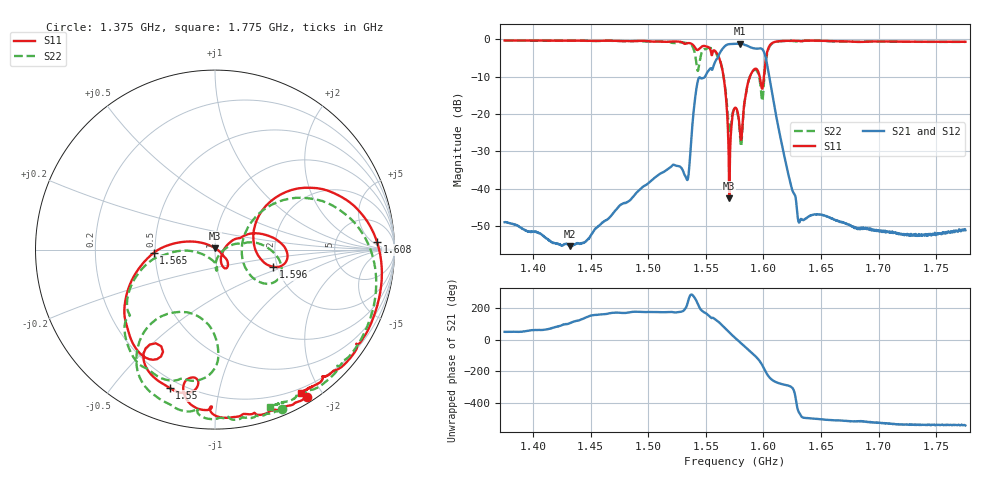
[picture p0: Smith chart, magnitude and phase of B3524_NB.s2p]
! Matrix data file written by TouchstoneData, EPCOS AG
! FILENAME: "B3524_NB.s2p"
! COMMENT: "(LU77C1_3_NB.s2p) EPCOS AG 11.03.10 17:14:47"
! INFO: nport=2, nfreq=1601
! DATE: "Tue Apr  6 13:00:36 2010"
! USER: "Sergey Rostovtsev"
! port | pin | signal
!  1  |  1  |  in
!  2  |  3  |  out
# MHZ S MA R 50
! freq  magS11 angS11  magS21 angS21  magS12 angS12  magS22 angS22
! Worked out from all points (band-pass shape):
!   1601 points, 1.375 GHz to 1.775 GHz, reference 50 ohm
!   highest |S21| = -1.08 dB at 1.58 GHz (marker M1); lowest = -55.4 dB at 1.432 GHz (marker M2)
!   |S21| within 3 dB of the highest: 1.562 GHz to 1.601 GHz (39.87 MHz wide, 2.52 % of centre)
!   lowest |S11| = -42.6 dB at 1.57 GHz (marker M3), VSWR 1.02, Z = 50.2 + j0.723 ohm
!   |S11| at or under -10 dB: 1.566 GHz to 1.588 GHz (22.85 MHz wide, 1.45 % of centre); 1.596856 GHz to 1.600465 GHz (3.609 MHz wide, 0.226 % of centre)
!   |S22| runs from -28.7 to -0.3 dB; largest |S21 - S12| = 0.00086
!   S11 on the Smith chart (normalised r, x): 1.375 GHz: 0.06, -1.80; 1.55 GHz: 0.16, -0.71; 1.565 GHz: 0.49, -0.02; 1.596 GHz: 1.90, -0.41; 1.608 GHz: 16, +8; 1.775 GHz: 0.15, -1.76
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1375.42  0.9703 -58.1  0.003543 49.1  0.003538 49.1  0.9648 -67.3
1432.42  0.9663 -63.3  0.00169 105.1  0.001701 105.1  0.961 -72.8
1442.17  0.9615 -64.6  0.001847 128.3  0.001849 128.1  0.9619 -74.3
1508.92  0.9386 -77.8  0.01525 174.2  0.01524 174.2  0.9375 -88.5
1533.67  0.8899 -91.8  0.01319 -143.3  0.01318 -143.2  0.8953 -107.6
1542.42  0.7246 -100.3  0.2444 -122.0  0.2443 -121.9  0.4185 -123.2
1545.42  0.7727 -97.4  0.3068 -167.4  0.3066 -167.4  0.5693 -88.2
1549.92  0.8108 -108.2  0.3282 168.0  0.3281 168.0  0.7398 -104.0
1558.17  0.6988 -130.3  0.5006 128.9  0.5004 128.8  0.6997 -135.4
1565.17  0.3422 -177.0  0.7673 84.1  0.7672 84.1  0.3455 -171.4
1570.42  0.007444 75.3  0.8668 44.8  0.8663 44.8  0.05906 -139.6
1575.42  0.1211 -56.4  0.8737 12.0  0.8736 11.9  0.118 -85.2
1579.67  0.06071 -57.2  0.8832 -15.3  0.8829 -15.4  0.05433 -79.2
1588.42  0.3179 13.1  0.7898 -73.5  0.7897 -73.5  0.3203 -1.8
1596.42  0.3376 -16.5  0.7581 -132.0  0.7581 -132.0  0.3096 -35.9
1599.42  0.2272 20.1  0.732 -166.5  0.7321 -166.5  0.1548 12.3
1602.67  0.6063 34.6  0.5166 148.1  0.5166 148.1  0.5703 30.4
1608.17  0.9039 2.7  0.1688 101.8  0.1689 101.9  0.8923 -5.2
1630.92  0.9592 -33.0  0.003501 -101.5  0.003501 -101.3  0.9493 -42.9
1642.17  0.966 -38.7  0.004428 -139.8  0.004425 -139.7  0.9608 -49.2
1708.92  0.9385 -53.4  0.002621 -172.2  0.002633 -172.2  0.9362 -64.8
1775.42  0.9306 -59.0  0.002763 175.9  0.002768 175.9  0.9267 -70.8
